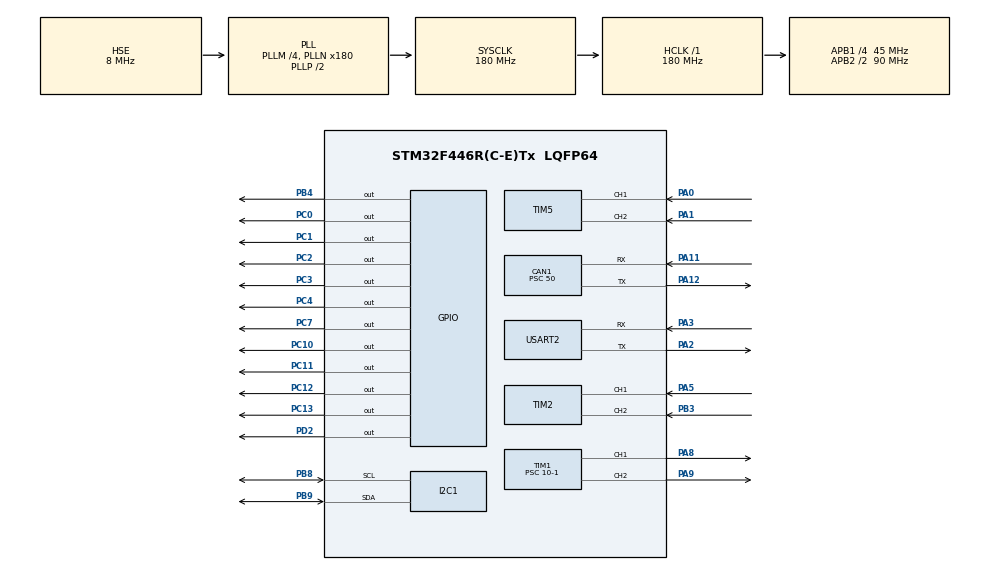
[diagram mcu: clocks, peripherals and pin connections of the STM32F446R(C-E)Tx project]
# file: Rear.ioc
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CAN1.ABOM=ENABLE
CAN1.BS1=CAN_BS1_15TQ
CAN1.BS2=CAN_BS2_2TQ
CAN1.CalculateBaudRate=50000
CAN1.CalculateTimeBit=20000
CAN1.CalculateTimeQuantum=1111.111111111111
CAN1.NART=ENABLE
CAN1.Prescaler=50
I2C1.I2C_Mode=I2C_Fast
Mcu.Family=STM32F4
Mcu.Name=STM32F446R(C-E)Tx
Mcu.Package=LQFP64
NVIC.CAN1_RX0_IRQn=true\:0\:0\:false\:false\:true\:true\:true\:true
NVIC.I2C1_EV_IRQn=true\:0\:0\:false\:false\:true\:true\:true\:true
NVIC.PriorityGroup=NVIC_PRIORITYGROUP_0
NVIC.TIM2_IRQn=true\:0\:0\:false\:false\:true\:true\:true\:true
NVIC.TIM3_IRQn=true\:0\:0\:false\:false\:true\:true\:true\:true
NVIC.TIM5_IRQn=true\:0\:0\:false\:false\:true\:true\:true\:true
NVIC.TIM6_DAC_IRQn=true\:0\:0\:false\:false\:true\:true\:true\:true
NVIC.TIM7_IRQn=true\:0\:0\:false\:false\:true\:true\:true\:true
PA0-WKUP.Signal=S_TIM5_CH1
PA1.Signal=S_TIM5_CH2
PA11.Mode=CAN_Activate
PA11.Signal=CAN1_RX
PA12.Mode=CAN_Activate
PA12.Signal=CAN1_TX
PA2.Mode=Asynchronous
PA2.Signal=USART2_TX
PA3.Mode=Asynchronous
PA3.Signal=USART2_RX
PA5.Signal=S_TIM2_CH1_ETR
PA8.Signal=S_TIM1_CH1
PA9.Signal=S_TIM1_CH2
PB3.Signal=S_TIM2_CH2
PB4.Signal=GPIO_Output
PB8.Mode=I2C
PB8.Signal=I2C1_SCL
PB9.Mode=I2C
PB9.Signal=I2C1_SDA
PC0.GPIO_ModeDefaultOutputPP=GPIO_MODE_OUTPUT_OD
PC0.GPIO_PuPd=GPIO_NOPULL
PC0.Signal=GPIO_Output
PC1.GPIO_ModeDefaultOutputPP=GPIO_MODE_OUTPUT_OD
PC1.GPIO_PuPd=GPIO_NOPULL
PC1.Signal=GPIO_Output
PC10.GPIO_ModeDefaultOutputPP=GPIO_MODE_OUTPUT_OD
PC10.GPIO_PuPd=GPIO_NOPULL
PC10.Signal=GPIO_Output
PC11.GPIO_ModeDefaultOutputPP=GPIO_MODE_OUTPUT_OD
PC11.GPIO_PuPd=GPIO_NOPULL
PC11.Signal=GPIO_Output
PC12.GPIO_ModeDefaultOutputPP=GPIO_MODE_OUTPUT_OD
PC12.GPIO_PuPd=GPIO_NOPULL
PC12.Signal=GPIO_Output
PC13.GPIO_ModeDefaultOutputPP=GPIO_MODE_OUTPUT_OD
PC13.GPIO_PuPd=GPIO_NOPULL
PC13.Signal=GPIO_Output
PC14-OSC32_IN.Mode=LSE-External-Oscillator
PC14-OSC32_IN.Signal=RCC_OSC32_IN
PC15-OSC32_OUT.Mode=LSE-External-Oscillator
PC15-OSC32_OUT.Signal=RCC_OSC32_OUT
PC2.GPIO_ModeDefaultOutputPP=GPIO_MODE_OUTPUT_OD
PC2.GPIO_PuPd=GPIO_NOPULL
PC2.Signal=GPIO_Output
PC3.GPIO_ModeDefaultOutputPP=GPIO_MODE_OUTPUT_OD
PC3.GPIO_PuPd=GPIO_NOPULL
PC3.Signal=GPIO_Output
PC4.GPIO_ModeDefaultOutputPP=GPIO_MODE_OUTPUT_OD
PC4.GPIO_PuPd=GPIO_NOPULL
PC4.Signal=GPIO_Output
PC7.Signal=GPIO_Output
PD2.GPIO_ModeDefaultOutputPP=GPIO_MODE_OUTPUT_OD
PD2.GPIO_PuPd=GPIO_NOPULL
PD2.Signal=GPIO_Output
PH0-OSC_IN.Mode=HSE-External-Oscillator
PH0-OSC_IN.Signal=RCC_OSC_IN
PH1-OSC_OUT.Mode=HSE-External-Oscillator
PH1-OSC_OUT.Signal=RCC_OSC_OUT
ProjectManager.HeapSize=0x200
ProjectManager.StackSize=0x400
ProjectManager.TargetToolchain=STM32CubeIDE
RCC.AHBFreq_Value=180000000
RCC.APB1CLKDivider=RCC_HCLK_DIV4
RCC.APB1Freq_Value=45000000
RCC.APB1TimFreq_Value=90000000
RCC.APB2CLKDivider=RCC_HCLK_DIV2
RCC.APB2Freq_Value=90000000
RCC.APB2TimFreq_Value=180000000
RCC.CortexFreq_Value=180000000
RCC.FLatency-AdvancedSettings=FLASH_LATENCY_5
RCC.HCLKFreq_Value=180000000
RCC.HSE_VALUE=8000000
RCC.HSI_VALUE=16000000
RCC.PLLM=4
RCC.PLLN=180
RCC.PLLSourceVirtual=RCC_PLLSOURCE_HSE
RCC.SYSCLKFreq_VALUE=180000000
RCC.SYSCLKSource=RCC_SYSCLKSOURCE_PLLCLK
RCC.USBFreq_Value=180000000
RCC.VCOOutputFreq_Value=360000000
SH.S_TIM1_CH1.0=TIM1_CH1,PWM Generation1 CH1
SH.S_TIM1_CH2.0=TIM1_CH2,PWM Generation2 CH2
SH.S_TIM2_CH1_ETR.0=TIM2_CH1,Encoder_Interface
SH.S_TIM2_CH2.0=TIM2_CH2,Encoder_Interface
SH.S_TIM5_CH1.0=TIM5_CH1,Encoder_Interface
SH.S_TIM5_CH2.0=TIM5_CH2,Encoder_Interface
TIM1.Channel-PWM\ Generation1\ CH1=TIM_CHANNEL_1
TIM1.Channel-PWM\ Generation2\ CH2=TIM_CHANNEL_2
TIM1.OCFastMode_PWM-PWM\ Generation1\ CH1=TIM_OCFAST_ENABLE
TIM1.OCFastMode_PWM-PWM\ Generation2\ CH2=TIM_OCFAST_ENABLE
TIM1.Period=9000-1
TIM1.Prescaler=10-1
TIM1.Pulse-PWM\ Generation1\ CH1=4500-1
TIM1.Pulse-PWM\ Generation2\ CH2=4500-1
TIM2.EncoderMode=TIM_ENCODERMODE_TI12
TIM3.Period=12300-1
TIM3.Prescaler=300-1
TIM5.EncoderMode=TIM_ENCODERMODE_TI12
TIM6.Period=16650-1
TIM6.Prescaler=200-1
TIM7.Period=9900-1
TIM7.Prescaler=100-1
USART2.VirtualMode=VM_ASYNC
VP_TIM3_VS_ClockSourceINT.Mode=Internal
VP_TIM6_VS_ClockSourceINT.Mode=Enable_Timer
VP_TIM7_VS_ClockSourceINT.Mode=Enable_Timer
board=NUCLEO-F446RE

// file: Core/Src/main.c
/* USER CODE BEGIN Header */
/**
  ******************************************************************************
  * @file           : main.c
  * @brief          : Main program body
  ******************************************************************************
  * @attention
  *
  * Copyright (c) 2022 STMicroelectronics.
  * All rights reserved.
  *
  * This software is licensed under terms that can be found in the LICENSE file
  * in the root directory of this software component.
  * If no LICENSE file comes with this software, it is provided AS-IS.
  *
  ******************************************************************************
  */
/* USER CODE END Header */
#include "main.h"

/* USER CODE BEGIN Includes */
#include "VL53L1X_api.h"
/* USER CODE END Includes */

/* USER CODE BEGIN PM */
#define DIR_FORWARD 0
#define DIR_BACKWARD 1
/* USER CODE END PM */

CAN_HandleTypeDef hcan1;

I2C_HandleTypeDef hi2c1;

TIM_HandleTypeDef htim1;
TIM_HandleTypeDef htim2;
TIM_HandleTypeDef htim3;
TIM_HandleTypeDef htim5;
TIM_HandleTypeDef htim6;
TIM_HandleTypeDef htim7;

UART_HandleTypeDef huart2;

/* USER CODE BEGIN PV */
CAN_FilterTypeDef canFilter1;
CAN_RxHeaderTypeDef can1RxHeader;
CAN_TxHeaderTypeDef can1TxHeader;

uint8_t can1Rx0Data[8];
uint32_t TxMailBox1;
uint8_t can1Tx0Data[8];

volatile unsigned int counter0 = 0;
volatile unsigned int counter1 = 0;
volatile unsigned int oldCounter0 = 0;
volatile unsigned int oldCounter1 = 0;
volatile long diff0 = 0;
volatile long diff1 = 0;

volatile long ccr0 = 21000;
volatile long ccr1 = 21000;

/* TOF */
uint16_t dev = 0x52;

uint8_t nof = 1;
uint16_t* dis = NULL;

uint8_t devs[9] = {
		0x54,
		0x56,
		0x58,
		0x5A,
		0x5C,
		0x5E,
		0x60,
		0x62,
		0x64
};
/* USER CODE END PV */

void SystemClock_Config(void);
static void MX_GPIO_Init(void);
static void MX_CAN1_Init(void);
static void MX_TIM1_Init(void);
static void MX_TIM2_Init(void);
static void MX_TIM5_Init(void);
static void MX_TIM7_Init(void);
static void MX_TIM3_Init(void);
static void MX_TIM6_Init(void);
static void MX_I2C1_Init(void);
static void MX_USART2_UART_Init(void);
/* USER CODE BEGIN PFP */
void TurnOffAll(void);
uint8_t TurnOnAt(uint8_t i);
uint16_t ChangeAddresses(uint8_t num_of_tof);
uint8_t GetAllData(uint8_t num_of_tof, uint16_t dis[num_of_tof]);

void HAL_CAN_RxFifo0MsgPendingCallback(CAN_HandleTypeDef *hcan);
void CAN_Filter_Init(void);
void CAN_Send(uint8_t ID, uint8_t data0, uint8_t data1, uint8_t data2, uint8_t data3, uint8_t data4, uint8_t data5, uint8_t data6, uint8_t data7);
void CAN_SendAll(void);

void setLeftMotorCCR(uint16_t ccr, uint8_t dir);
void setRightMotorCCR(uint16_t ccr, uint8_t dir);

void HAL_TIM_PeriodElapsedCallback(TIM_HandleTypeDef *htim);
/* USER CODE END PFP */

/* USER CODE BEGIN 0 */
union Speedtype {
	float fl;
	uint32_t i;
};

union Speedtype speed0;
union Speedtype speed1;

int _write(int file, char* p, int len) {
	HAL_UART_Transmit(&huart2, p, len, 16);
	return len;
}
/* USER CODE END 0 */

int main(void)
{

  /* MCU Configuration--------------------------------------------------------*/

  /* Reset of all peripherals, Initializes the Flash interface and the Systick. */
  HAL_Init();

  /* USER CODE BEGIN Init */
  dis = calloc(nof, 16 * nof);
  /* USER CODE END Init */

  /* Configure the system clock */
  SystemClock_Config();

  /* Initialize all configured peripherals */
  MX_GPIO_Init();
  MX_CAN1_Init();
  MX_TIM1_Init();
  MX_TIM2_Init();
  MX_TIM5_Init();
  MX_TIM7_Init();
  MX_TIM3_Init();
  MX_TIM6_Init();
  MX_I2C1_Init();
  MX_USART2_UART_Init();
  /* USER CODE BEGIN 2 */
  setLeftMotorCCR(0, DIR_FORWARD);
  setRightMotorCCR(0, DIR_FORWARD);

  if (!(ChangeAddresses(nof))) {
	  //HAL_UART_Transmit(&huart2, fail, 6, 10);
  }
  else {
	  //HAL_UART_Transmit(&huart2, succ, 6, 10);
  }
  HAL_Delay(50);

  HAL_TIM_Base_Start_IT(&htim3);
  HAL_TIM_Base_Start_IT(&htim6);
  HAL_TIM_Base_Start_IT(&htim7);
  /* USER CODE END 2 */

  /* Infinite loop */
  while (1)
  {

  }
}

void SystemClock_Config(void)
{
  RCC_OscInitTypeDef RCC_OscInitStruct = {0};
  RCC_ClkInitTypeDef RCC_ClkInitStruct = {0};

  /** Configure the main internal regulator output voltage
  */
  __HAL_RCC_PWR_CLK_ENABLE();
  __HAL_PWR_VOLTAGESCALING_CONFIG(PWR_REGULATOR_VOLTAGE_SCALE1);

  /** Initializes the RCC Oscillators according to the specified parameters
  * in the RCC_OscInitTypeDef structure.
  */
  RCC_OscInitStruct.OscillatorType = RCC_OSCILLATORTYPE_HSE;
  RCC_OscInitStruct.HSEState = RCC_HSE_ON;
  RCC_OscInitStruct.PLL.PLLState = RCC_PLL_ON;
  RCC_OscInitStruct.PLL.PLLSource = RCC_PLLSOURCE_HSE;
  RCC_OscInitStruct.PLL.PLLM = 4;
  RCC_OscInitStruct.PLL.PLLN = 180;
  RCC_OscInitStruct.PLL.PLLP = RCC_PLLP_DIV2;
  RCC_OscInitStruct.PLL.PLLQ = 2;
  RCC_OscInitStruct.PLL.PLLR = 2;
  if (HAL_RCC_OscConfig(&RCC_OscInitStruct) != HAL_OK)
  {
    Error_Handler();
  }

  /** Activate the Over-Drive mode
  */
  if (HAL_PWREx_EnableOverDrive() != HAL_OK)
  {
    Error_Handler();
  }

  /** Initializes the CPU, AHB and APB buses clocks
  */
  RCC_ClkInitStruct.ClockType = RCC_CLOCKTYPE_HCLK|RCC_CLOCKTYPE_SYSCLK
                              |RCC_CLOCKTYPE_PCLK1|RCC_CLOCKTYPE_PCLK2;
  RCC_ClkInitStruct.SYSCLKSource = RCC_SYSCLKSOURCE_PLLCLK;
  RCC_ClkInitStruct.AHBCLKDivider = RCC_SYSCLK_DIV1;
  RCC_ClkInitStruct.APB1CLKDivider = RCC_HCLK_DIV4;
  RCC_ClkInitStruct.APB2CLKDivider = RCC_HCLK_DIV2;

  if (HAL_RCC_ClockConfig(&RCC_ClkInitStruct, FLASH_LATENCY_5) != HAL_OK)
  {
    Error_Handler();
  }
}

static void MX_CAN1_Init(void)
{

  hcan1.Instance = CAN1;
  hcan1.Init.Prescaler = 50;
  hcan1.Init.Mode = CAN_MODE_NORMAL;
  hcan1.Init.SyncJumpWidth = CAN_SJW_1TQ;
  hcan1.Init.TimeSeg1 = CAN_BS1_15TQ;
  hcan1.Init.TimeSeg2 = CAN_BS2_2TQ;
  hcan1.Init.TimeTriggeredMode = DISABLE;
  hcan1.Init.AutoBusOff = ENABLE;
  hcan1.Init.AutoWakeUp = DISABLE;
  hcan1.Init.AutoRetransmission = ENABLE;
  hcan1.Init.ReceiveFifoLocked = DISABLE;
  hcan1.Init.TransmitFifoPriority = DISABLE;
  if (HAL_CAN_Init(&hcan1) != HAL_OK)
  {
    Error_Handler();
  }
  /* USER CODE BEGIN CAN1_Init 2 */
  CAN_Filter_Init();
  /* USER CODE END CAN1_Init 2 */

}

static void MX_I2C1_Init(void)
{

  hi2c1.Instance = I2C1;
  hi2c1.Init.ClockSpeed = 400000;
  hi2c1.Init.DutyCycle = I2C_DUTYCYCLE_2;
  hi2c1.Init.OwnAddress1 = 0;
  hi2c1.Init.AddressingMode = I2C_ADDRESSINGMODE_7BIT;
  hi2c1.Init.DualAddressMode = I2C_DUALADDRESS_DISABLE;
  hi2c1.Init.OwnAddress2 = 0;
  hi2c1.Init.GeneralCallMode = I2C_GENERALCALL_DISABLE;
  hi2c1.Init.NoStretchMode = I2C_NOSTRETCH_DISABLE;
  if (HAL_I2C_Init(&hi2c1) != HAL_OK)
  {
    Error_Handler();
  }

}

static void MX_TIM1_Init(void)
{

  TIM_MasterConfigTypeDef sMasterConfig = {0};
  TIM_OC_InitTypeDef sConfigOC = {0};
  TIM_BreakDeadTimeConfigTypeDef sBreakDeadTimeConfig = {0};

  htim1.Instance = TIM1;
  htim1.Init.Prescaler = 10-1;
  htim1.Init.CounterMode = TIM_COUNTERMODE_UP;
  htim1.Init.Period = 9000-1;
  htim1.Init.ClockDivision = TIM_CLOCKDIVISION_DIV1;
  htim1.Init.RepetitionCounter = 0;
  htim1.Init.AutoReloadPreload = TIM_AUTORELOAD_PRELOAD_DISABLE;
  if (HAL_TIM_PWM_Init(&htim1) != HAL_OK)
  {
    Error_Handler();
  }
  sMasterConfig.MasterOutputTrigger = TIM_TRGO_RESET;
  sMasterConfig.MasterSlaveMode = TIM_MASTERSLAVEMODE_DISABLE;
  if (HAL_TIMEx_MasterConfigSynchronization(&htim1, &sMasterConfig) != HAL_OK)
  {
    Error_Handler();
  }
  sConfigOC.OCMode = TIM_OCMODE_PWM1;
  sConfigOC.Pulse = 4500-1;
  sConfigOC.OCPolarity = TIM_OCPOLARITY_HIGH;
  sConfigOC.OCNPolarity = TIM_OCNPOLARITY_HIGH;
  sConfigOC.OCFastMode = TIM_OCFAST_ENABLE;
  sConfigOC.OCIdleState = TIM_OCIDLESTATE_RESET;
  sConfigOC.OCNIdleState = TIM_OCNIDLESTATE_RESET;
  if (HAL_TIM_PWM_ConfigChannel(&htim1, &sConfigOC, TIM_CHANNEL_1) != HAL_OK)
  {
    Error_Handler();
  }
  if (HAL_TIM_PWM_ConfigChannel(&htim1, &sConfigOC, TIM_CHANNEL_2) != HAL_OK)
  {
    Error_Handler();
  }
  sBreakDeadTimeConfig.OffStateRunMode = TIM_OSSR_DISABLE;
  sBreakDeadTimeConfig.OffStateIDLEMode = TIM_OSSI_DISABLE;
  sBreakDeadTimeConfig.LockLevel = TIM_LOCKLEVEL_OFF;
  sBreakDeadTimeConfig.DeadTime = 0;
  sBreakDeadTimeConfig.BreakState = TIM_BREAK_DISABLE;
  sBreakDeadTimeConfig.BreakPolarity = TIM_BREAKPOLARITY_HIGH;
  sBreakDeadTimeConfig.AutomaticOutput = TIM_AUTOMATICOUTPUT_DISABLE;
  if (HAL_TIMEx_ConfigBreakDeadTime(&htim1, &sBreakDeadTimeConfig) != HAL_OK)
  {
    Error_Handler();
  }
  /* USER CODE BEGIN TIM1_Init 2 */
  HAL_TIM_PWM_Start(&htim1, TIM_CHANNEL_1);
  HAL_TIM_PWM_Start(&htim1, TIM_CHANNEL_2);
  /* USER CODE END TIM1_Init 2 */
  HAL_TIM_MspPostInit(&htim1);

}

static void MX_TIM2_Init(void)
{

  TIM_Encoder_InitTypeDef sConfig = {0};
  TIM_MasterConfigTypeDef sMasterConfig = {0};

  htim2.Instance = TIM2;
  htim2.Init.Prescaler = 0;
  htim2.Init.CounterMode = TIM_COUNTERMODE_UP;
  htim2.Init.Period = 4294967295;
  htim2.Init.ClockDivision = TIM_CLOCKDIVISION_DIV1;
  htim2.Init.AutoReloadPreload = TIM_AUTORELOAD_PRELOAD_DISABLE;
  sConfig.EncoderMode = TIM_ENCODERMODE_TI12;
  sConfig.IC1Polarity = TIM_ICPOLARITY_RISING;
  sConfig.IC1Selection = TIM_ICSELECTION_DIRECTTI;
  sConfig.IC1Prescaler = TIM_ICPSC_DIV1;
  sConfig.IC1Filter = 0;
  sConfig.IC2Polarity = TIM_ICPOLARITY_RISING;
  sConfig.IC2Selection = TIM_ICSELECTION_DIRECTTI;
  sConfig.IC2Prescaler = TIM_ICPSC_DIV1;
  sConfig.IC2Filter = 0;
  if (HAL_TIM_Encoder_Init(&htim2, &sConfig) != HAL_OK)
  {
    Error_Handler();
  }
  sMasterConfig.MasterOutputTrigger = TIM_TRGO_RESET;
  sMasterConfig.MasterSlaveMode = TIM_MASTERSLAVEMODE_DISABLE;
  if (HAL_TIMEx_MasterConfigSynchronization(&htim2, &sMasterConfig) != HAL_OK)
  {
    Error_Handler();
  }
  /* USER CODE BEGIN TIM2_Init 2 */
  HAL_TIM_Encoder_Start_IT(&htim2, TIM_CHANNEL_ALL);
  /* USER CODE END TIM2_Init 2 */

}

static void MX_TIM3_Init(void)
{

  TIM_ClockConfigTypeDef sClockSourceConfig = {0};
  TIM_MasterConfigTypeDef sMasterConfig = {0};

  htim3.Instance = TIM3;
  htim3.Init.Prescaler = 300-1;
  htim3.Init.CounterMode = TIM_COUNTERMODE_UP;
  htim3.Init.Period = 12300-1;
  htim3.Init.ClockDivision = TIM_CLOCKDIVISION_DIV1;
  htim3.Init.AutoReloadPreload = TIM_AUTORELOAD_PRELOAD_DISABLE;
  if (HAL_TIM_Base_Init(&htim3) != HAL_OK)
  {
    Error_Handler();
  }
  sClockSourceConfig.ClockSource = TIM_CLOCKSOURCE_INTERNAL;
  if (HAL_TIM_ConfigClockSource(&htim3, &sClockSourceConfig) != HAL_OK)
  {
    Error_Handler();
  }
  sMasterConfig.MasterOutputTrigger = TIM_TRGO_RESET;
  sMasterConfig.MasterSlaveMode = TIM_MASTERSLAVEMODE_DISABLE;
  if (HAL_TIMEx_MasterConfigSynchronization(&htim3, &sMasterConfig) != HAL_OK)
  {
    Error_Handler();
  }

}

static void MX_TIM5_Init(void)
{

  TIM_Encoder_InitTypeDef sConfig = {0};
  TIM_MasterConfigTypeDef sMasterConfig = {0};

  htim5.Instance = TIM5;
  htim5.Init.Prescaler = 0;
  htim5.Init.CounterMode = TIM_COUNTERMODE_UP;
  htim5.Init.Period = 4294967295;
  htim5.Init.ClockDivision = TIM_CLOCKDIVISION_DIV1;
  htim5.Init.AutoReloadPreload = TIM_AUTORELOAD_PRELOAD_DISABLE;
  sConfig.EncoderMode = TIM_ENCODERMODE_TI12;
  sConfig.IC1Polarity = TIM_ICPOLARITY_RISING;
  sConfig.IC1Selection = TIM_ICSELECTION_DIRECTTI;
  sConfig.IC1Prescaler = TIM_ICPSC_DIV1;
  sConfig.IC1Filter = 0;
  sConfig.IC2Polarity = TIM_ICPOLARITY_RISING;
  sConfig.IC2Selection = TIM_ICSELECTION_DIRECTTI;
  sConfig.IC2Prescaler = TIM_ICPSC_DIV1;
  sConfig.IC2Filter = 0;
  if (HAL_TIM_Encoder_Init(&htim5, &sConfig) != HAL_OK)
  {
    Error_Handler();
  }
  sMasterConfig.MasterOutputTrigger = TIM_TRGO_RESET;
  sMasterConfig.MasterSlaveMode = TIM_MASTERSLAVEMODE_DISABLE;
  if (HAL_TIMEx_MasterConfigSynchronization(&htim5, &sMasterConfig) != HAL_OK)
  {
    Error_Handler();
  }
  /* USER CODE BEGIN TIM5_Init 2 */
  HAL_TIM_Encoder_Start_IT(&htim5, TIM_CHANNEL_ALL);
  /* USER CODE END TIM5_Init 2 */

}

static void MX_TIM6_Init(void)
{

  TIM_MasterConfigTypeDef sMasterConfig = {0};

  htim6.Instance = TIM6;
  htim6.Init.Prescaler = 200-1;
  htim6.Init.CounterMode = TIM_COUNTERMODE_UP;
  htim6.Init.Period = 16650-1;
  htim6.Init.AutoReloadPreload = TIM_AUTORELOAD_PRELOAD_DISABLE;
  if (HAL_TIM_Base_Init(&htim6) != HAL_OK)
  {
    Error_Handler();
  }
  sMasterConfig.MasterOutputTrigger = TIM_TRGO_RESET;
  sMasterConfig.MasterSlaveMode = TIM_MASTERSLAVEMODE_DISABLE;
  if (HAL_TIMEx_MasterConfigSynchronization(&htim6, &sMasterConfig) != HAL_OK)
  {
    Error_Handler();
  }

}

static void MX_TIM7_Init(void)
{

  TIM_MasterConfigTypeDef sMasterConfig = {0};

  htim7.Instance = TIM7;
  htim7.Init.Prescaler = 100-1;
  htim7.Init.CounterMode = TIM_COUNTERMODE_UP;
  htim7.Init.Period = 9900-1;
  htim7.Init.AutoReloadPreload = TIM_AUTORELOAD_PRELOAD_DISABLE;
  if (HAL_TIM_Base_Init(&htim7) != HAL_OK)
  {
    Error_Handler();
  }
  sMasterConfig.MasterOutputTrigger = TIM_TRGO_RESET;
  sMasterConfig.MasterSlaveMode = TIM_MASTERSLAVEMODE_DISABLE;
  if (HAL_TIMEx_MasterConfigSynchronization(&htim7, &sMasterConfig) != HAL_OK)
  {
    Error_Handler();
  }

}

static void MX_USART2_UART_Init(void)
{

  huart2.Instance = USART2;
  huart2.Init.BaudRate = 115200;
  huart2.Init.WordLength = UART_WORDLENGTH_8B;
  huart2.Init.StopBits = UART_STOPBITS_1;
  huart2.Init.Parity = UART_PARITY_NONE;
  huart2.Init.Mode = UART_MODE_TX_RX;
  huart2.Init.HwFlowCtl = UART_HWCONTROL_NONE;
  huart2.Init.OverSampling = UART_OVERSAMPLING_16;
  if (HAL_UART_Init(&huart2) != HAL_OK)
  {
    Error_Handler();
  }

}

static void MX_GPIO_Init(void)
{
  GPIO_InitTypeDef GPIO_InitStruct = {0};

  /* GPIO Ports Clock Enable */
  __HAL_RCC_GPIOC_CLK_ENABLE();
  __HAL_RCC_GPIOH_CLK_ENABLE();
  __HAL_RCC_GPIOA_CLK_ENABLE();
  __HAL_RCC_GPIOD_CLK_ENABLE();
  __HAL_RCC_GPIOB_CLK_ENABLE();

  /*Configure GPIO pin Output Level */
  HAL_GPIO_WritePin(GPIOC, GPIO_PIN_13|GPIO_PIN_0|GPIO_PIN_1|GPIO_PIN_2
                          |GPIO_PIN_3|GPIO_PIN_4|GPIO_PIN_7|GPIO_PIN_10
                          |GPIO_PIN_11|GPIO_PIN_12, GPIO_PIN_RESET);

  /*Configure GPIO pin Output Level */
  HAL_GPIO_WritePin(GPIOD, GPIO_PIN_2, GPIO_PIN_RESET);

  /*Configure GPIO pin Output Level */
  HAL_GPIO_WritePin(GPIOB, GPIO_PIN_4, GPIO_PIN_RESET);

  /*Configure GPIO pins : PC13 PC0 PC1 PC2
                           PC3 PC4 PC10 PC11
                           PC12 */
  GPIO_InitStruct.Pin = GPIO_PIN_13|GPIO_PIN_0|GPIO_PIN_1|GPIO_PIN_2
                          |GPIO_PIN_3|GPIO_PIN_4|GPIO_PIN_10|GPIO_PIN_11
                          |GPIO_PIN_12;
  GPIO_InitStruct.Mode = GPIO_MODE_OUTPUT_OD;
  GPIO_InitStruct.Pull = GPIO_NOPULL;
  GPIO_InitStruct.Speed = GPIO_SPEED_FREQ_LOW;
  HAL_GPIO_Init(GPIOC, &GPIO_InitStruct);

  /*Configure GPIO pin : PC7 */
  GPIO_InitStruct.Pin = GPIO_PIN_7;
  GPIO_InitStruct.Mode = GPIO_MODE_OUTPUT_PP;
  GPIO_InitStruct.Pull = GPIO_NOPULL;
  GPIO_InitStruct.Speed = GPIO_SPEED_FREQ_LOW;
  HAL_GPIO_Init(GPIOC, &GPIO_InitStruct);

  /*Configure GPIO pin : PD2 */
  GPIO_InitStruct.Pin = GPIO_PIN_2;
  GPIO_InitStruct.Mode = GPIO_MODE_OUTPUT_OD;
  GPIO_InitStruct.Pull = GPIO_NOPULL;
  GPIO_InitStruct.Speed = GPIO_SPEED_FREQ_LOW;
  HAL_GPIO_Init(GPIOD, &GPIO_InitStruct);

  /*Configure GPIO pin : PB4 */
  GPIO_InitStruct.Pin = GPIO_PIN_4;
  GPIO_InitStruct.Mode = GPIO_MODE_OUTPUT_PP;
  GPIO_InitStruct.Pull = GPIO_NOPULL;
  GPIO_InitStruct.Speed = GPIO_SPEED_FREQ_LOW;
  HAL_GPIO_Init(GPIOB, &GPIO_InitStruct);

}

/* USER CODE BEGIN 4 */
void TurnOffAll(void) {
	  HAL_GPIO_WritePin(GPIOC, GPIO_PIN_10, GPIO_PIN_RESET);
	  HAL_GPIO_WritePin(GPIOC, GPIO_PIN_11, GPIO_PIN_RESET);
	  HAL_GPIO_WritePin(GPIOC, GPIO_PIN_12, GPIO_PIN_RESET);
	  HAL_GPIO_WritePin(GPIOD, GPIO_PIN_2, GPIO_PIN_RESET);
	  HAL_GPIO_WritePin(GPIOC, GPIO_PIN_13, GPIO_PIN_RESET);
	  HAL_GPIO_WritePin(GPIOC, GPIO_PIN_2, GPIO_PIN_RESET);
	  HAL_GPIO_WritePin(GPIOC, GPIO_PIN_3, GPIO_PIN_RESET);
	  HAL_GPIO_WritePin(GPIOC, GPIO_PIN_0, GPIO_PIN_RESET);
	  HAL_GPIO_WritePin(GPIOC, GPIO_PIN_1, GPIO_PIN_RESET);
}

uint8_t TurnOnAt(uint8_t i) {
	uint8_t bootState = 0;
	uint8_t boot[8] = {66, 79, 79, 84, 48, 13, 10, 0};
	switch (i) {
	case 0:
		HAL_GPIO_WritePin(GPIOC, GPIO_PIN_10, GPIO_PIN_SET);
		HAL_Delay(10);
		while(bootState==0){
			HAL_GPIO_WritePin(GPIOC, GPIO_PIN_10, GPIO_PIN_SET);
			HAL_Delay(10);
			VL53L1X_BootState(dev, &bootState);
			HAL_UART_Transmit(&huart2, boot, 8, 10);
			HAL_Delay(2);
		}
		break;
	case 1:
		HAL_GPIO_WritePin(GPIOC, GPIO_PIN_11, GPIO_PIN_SET);
		HAL_Delay(10);
		boot[4] = 49;
		while(bootState==0){
			HAL_GPIO_WritePin(GPIOC, GPIO_PIN_11, GPIO_PIN_SET);
			HAL_Delay(10);
			VL53L1X_BootState(dev, &bootState);
			HAL_UART_Transmit(&huart2, boot, 8, 10);
			HAL_Delay(2);
		}
		break;
	case 2:
		HAL_GPIO_WritePin(GPIOC, GPIO_PIN_12, GPIO_PIN_SET);
		HAL_Delay(10);
		boot[4] = 50;
		while(bootState==0){
			HAL_GPIO_WritePin(GPIOC, GPIO_PIN_12, GPIO_PIN_SET);
			HAL_Delay(10);
			VL53L1X_BootState(dev, &bootState);
			HAL_UART_Transmit(&huart2, boot, 8, 10);
			HAL_Delay(2);
		}
		break;
	case 3:
		HAL_GPIO_WritePin(GPIOD, GPIO_PIN_2, GPIO_PIN_SET);
		HAL_Delay(10);
		boot[4] = 51;
		while(bootState==0){
			HAL_GPIO_WritePin(GPIOD, GPIO_PIN_2, GPIO_PIN_SET);
			HAL_Delay(10);
			VL53L1X_BootState(dev, &bootState);
			HAL_UART_Transmit(&huart2, boot, 8, 10);
			HAL_Delay(2);
		}
		break;
	case 4:
		HAL_GPIO_WritePin(GPIOC, GPIO_PIN_13, GPIO_PIN_SET);
		HAL_Delay(10);
		boot[4] = 52;
		while(bootState==0){
			HAL_GPIO_WritePin(GPIOC, GPIO_PIN_13, GPIO_PIN_SET);
			HAL_Delay(10);
			VL53L1X_BootState(dev, &bootState);
			HAL_UART_Transmit(&huart2, boot, 8, 10);
			HAL_Delay(2);
		}
		break;
	case 5:
		HAL_GPIO_WritePin(GPIOC, GPIO_PIN_2, GPIO_PIN_SET);
		HAL_Delay(10);
		boot[4] = 53;
		while(bootState==0){
			HAL_GPIO_WritePin(GPIOC, GPIO_PIN_2, GPIO_PIN_SET);
			HAL_Delay(10);
			VL53L1X_BootState(dev, &bootState);
			HAL_UART_Transmit(&huart2, boot, 8, 10);
			HAL_Delay(2);
		}
		break;
	case 6:
		HAL_GPIO_WritePin(GPIOC, GPIO_PIN_3, GPIO_PIN_SET);
		HAL_Delay(10);
		boot[4] = 54;
		while(bootState==0){
			HAL_GPIO_WritePin(GPIOC, GPIO_PIN_3, GPIO_PIN_SET);
			HAL_Delay(10);
			VL53L1X_BootState(dev, &bootState);
			HAL_UART_Transmit(&huart2, boot, 8, 10);
			HAL_Delay(2);
		}
		break;
	case 7:
		HAL_GPIO_WritePin(GPIOC, GPIO_PIN_0, GPIO_PIN_SET);
		HAL_Delay(10);
		boot[4] = 55;
		while(bootState==0){
			HAL_GPIO_WritePin(GPIOC, GPIO_PIN_0, GPIO_PIN_SET);
			HAL_Delay(10);
			VL53L1X_BootState(dev, &bootState);
			HAL_UART_Transmit(&huart2, boot, 8, 10);
			HAL_Delay(2);
		}
		break;
	case 8:
		HAL_GPIO_WritePin(GPIOC, GPIO_PIN_1, GPIO_PIN_SET);
		HAL_Delay(10);
		boot[4] = 56;
		while(bootState==0){
			HAL_GPIO_WritePin(GPIOC, GPIO_PIN_1, GPIO_PIN_SET);
			HAL_Delay(10);
			VL53L1X_BootState(dev, &bootState);
			HAL_UART_Transmit(&huart2, boot, 8, 10);
			HAL_Delay(2);
		}
		break;
	default:
		;
		// shit
	}
	return bootState;
}

uint16_t ChangeAddresses(uint8_t num_of_tof) {
	uint8_t success = 1;
	TurnOffAll();
	HAL_Delay(10);
	for (uint8_t i = 0; i != num_of_tof; ++i) {
		success *= TurnOnAt(i);
		HAL_Delay(5);
		printf("try init: %d\r\n", i);
		VL53L1X_SensorInit(dev);
		printf("try addr change: %d\r\n", i);
		VL53L1X_SetI2CAddress(dev, devs[i]);
		VL53L1X_StartRanging(devs[i]);
		printf("done: %d\r\n", i);
	}
	return success;
}

uint8_t GetAllData(uint8_t num_of_tof, uint16_t dis[num_of_tof]) {
	for (uint8_t i = 0; i != num_of_tof; ++i) {
		VL53L1X_GetDistance(devs[i], &dis[i]);
		VL53L1X_ClearInterrupt(devs[i]);
	}

	/*
	uint8_t dataReady = 0;
	for (uint8_t i = 1; i != num_of_tof; ++i) {
		dataReady = 0;
		while (dataReady == 0){
			VL53L1X_CheckForDataReady(devs[i], &dataReady);
			//printf("getting %d\r\n", i);
			//HAL_Delay(2);
		}
		VL53L1X_GetDistance(devs[i], &dis[i]);
		VL53L1X_ClearInterrupt(devs[i]);
	}
	*/
	return 1;
}

void CAN_Filter_Init(void)
{
	//Set the CAN Filter which has Mask Ids
	//CAN Filter1
	//Receiving CAN data via 0x102~0x10E
//	canFilter1.FilterMaskIdHigh = 0x7F3 << 5; // Shift 5 bit
//	canFilter1.FilterIdHigh = 0x106 << 5;
//	canFilter1.FilterMaskIdLow = 0x7F3 << 5; // Shift 5 bit
//	canFilter1.FilterIdLow = 0x106 << 5;
	canFilter1.FilterMaskIdHigh = 0x000 << 5; // Shift 5 bit
	canFilter1.FilterIdHigh = 0x000 << 5;
	canFilter1.FilterMaskIdLow = 0x000 << 5; // Shift 5 bit
	canFilter1.FilterIdLow = 0x000 << 5;
	canFilter1.FilterMode = CAN_FILTERMODE_IDMASK;
	canFilter1.FilterScale = CAN_FILTERSCALE_16BIT;
	canFilter1.FilterFIFOAssignment = CAN_FILTER_FIFO0;
	canFilter1.FilterBank = 0;
	canFilter1.FilterActivation = ENABLE;

	/* Set options for messages; ID type(standard), Length(8 byte) */
	can1TxHeader.RTR = CAN_RTR_DATA;
	can1TxHeader.IDE = CAN_ID_STD;
	can1TxHeader.DLC = 8;

	HAL_CAN_ConfigFilter(&hcan1, &canFilter1);
	HAL_CAN_ActivateNotification(&hcan1, CAN_IT_RX_FIFO0_MSG_PENDING);
	HAL_CAN_Start(&hcan1);
}

void CAN_Send(uint8_t ID, uint8_t data0, uint8_t data1, uint8_t data2, uint8_t data3, uint8_t data4, uint8_t data5, uint8_t data6, uint8_t data7)
{
	  /* Set options for messages; Address */
	  can1TxHeader.StdId = ID;

	  can1Tx0Data[7] = data7;
	  can1Tx0Data[6] = data6;
	  can1Tx0Data[5] = data5;
	  can1Tx0Data[4] = data4;
	  can1Tx0Data[3] = data3;
	  can1Tx0Data[2] = data2;
	  can1Tx0Data[1] = data1;
	  can1Tx0Data[0] = data0;
//
//	  can1Tx0Data[7] = 0;
//	  can1Tx0Data[6] = 10;
//	  can1Tx0Data[5] = 13;
//	  can1Tx0Data[4] = 111;
//	  can1Tx0Data[3] = 108;
//	  can1Tx0Data[2] = 108;
//	  can1Tx0Data[1] = 101;
//	  can1Tx0Data[0] = 72;

	  //TxMailBox1 = HAL_CAN_GetTxMailboxesFreeLevel(&hcan1);
	  HAL_CAN_AddTxMessage(&hcan1, &can1TxHeader, &can1Tx0Data[0], &TxMailBox1);
}

void CAN_SendAll(void) {
	CAN_Send(0x10, speed0.i & 0xFF, (speed0.i & 0xFF00) >> 8, (speed0.i & 0xFF0000) >> 16, speed0.i >> 24, speed1.i & 0xFF, (speed1.i & 0xFF00) >> 8, (speed1.i & 0xFF0000) >> 16, speed1.i >> 24);
	CAN_Send(0x11, dis[0] >> 8, dis[0] & 0xFF, dis[1] >> 8, dis[1] & 0xFF, dis[2] >> 8, dis[2] & 0xFF, 0, 0);
	CAN_Send(0x11, dis[3] >> 8, dis[3] & 0xFF, dis[4] >> 8, dis[4] & 0xFF, dis[5] >> 8, dis[5] & 0xFF, 0, 0);
	CAN_Send(0x11, dis[6] >> 8, dis[6] & 0xFF, dis[7] >> 8, dis[7] & 0xFF, dis[8] >> 8, dis[8] & 0xFF, 0, 0);
}

/* Receiving CAN Data */
/* Get CAN1 message Through FIFO0 */
void HAL_CAN_RxFifo0MsgPendingCallback(CAN_HandleTypeDef *hcan)
{
	HAL_CAN_GetRxMessage(&hcan1, CAN_RX_FIFO0, &can1RxHeader, can1Rx0Data);
	uint8_t left_dir = can1Rx0Data[0];
	uint16_t left_ccr = can1Rx0Data[1] << 8 | can1Rx0Data[2];
	uint8_t right_dir = can1Rx0Data[3];
	uint16_t right_ccr = can1Rx0Data[4] << 8 | can1Rx0Data[5];
	setLeftMotorCCR(left_ccr, left_dir);
	setRightMotorCCR(right_ccr, right_dir);
}

void setLeftMotorCCR(uint16_t ccr, uint8_t dir) {
	if (dir == DIR_BACKWARD) {
		HAL_GPIO_WritePin(GPIOC, GPIO_PIN_7, GPIO_PIN_SET);
	}
	else {
		HAL_GPIO_WritePin(GPIOC, GPIO_PIN_7, GPIO_PIN_RESET);

	}

	 //uint32_t ccr = (uint32_t) speed * 20;
	 if (ccr > TIM1->ARR) ccr = TIM1->ARR;
	 //printf("%d\r\n", ccr0);
	 TIM1->CCR2 = ccr;
	 //HAL_Delay(50);
}

void setRightMotorCCR(uint16_t ccr, uint8_t dir) {
	if (dir == DIR_BACKWARD) {
		HAL_GPIO_WritePin(GPIOB, GPIO_PIN_4, GPIO_PIN_RESET);
	}
	else {
		HAL_GPIO_WritePin(GPIOB, GPIO_PIN_4, GPIO_PIN_SET);
	}

	 //uint32_t ccr = (uint32_t) speed * 20;
	 if (ccr > TIM1->ARR) ccr = TIM1->ARR;
	 TIM1->CCR1 = ccr;
	 //HAL_Delay(50);
}

void HAL_TIM_PeriodElapsedCallback(TIM_HandleTypeDef *htim) {
	if (htim == &htim7) {
		  counter0 = __HAL_TIM_GET_COUNTER(&htim2);
		  counter1 = __HAL_TIM_GET_COUNTER(&htim5);

		  if (__HAL_TIM_IS_TIM_COUNTING_DOWN(&htim2)) {
			  if (counter0 <= oldCounter0){
				  // pure forward
				  //printf("a1,");
				  diff0 = -counter0 + oldCounter0;
			  }
			  else {
				  // backward -> forward
				  //printf("a2,");
				  diff0 = (4294967295 + oldCounter0) - counter0;
			  }
		  }
		  else {
			  if (counter0 <= oldCounter0) {
				  // forward -> backward
				  //printf("a3,");
				  diff0 = (4294967295 + oldCounter0) - counter0;
			  }
			  else {
				  // pure backward
				  //printf("a4,");
				  diff0 = -counter0 + oldCounter0;
			  }
		  }

		  if (__HAL_TIM_IS_TIM_COUNTING_DOWN(&htim5)) {
			  if (counter1 >= oldCounter1) {
				  // forward -> backward change
				  //printf("b1: ");
				  diff1 = (4294967295 - oldCounter1) + counter1;
			  }

			  else {
				  // pure backward
				  //printf("b2: ");
				  diff1 = counter1 - oldCounter1;
			  }

			  }
		  else {
			  if (counter1 >= oldCounter1) {
				  // pure forward
				  //printf("b3: ");
				  diff1 = counter1 - oldCounter1;
			  }

			  else {
				  // backward -> forward change
				  //printf("b4: ");
				  diff1 = (4294967295 - oldCounter1) + counter1;
			  }
		  }
		  oldCounter0 = __HAL_TIM_GET_COUNTER(&htim2);
		  oldCounter1 = __HAL_TIM_GET_COUNTER(&htim5);

		  speed0.fl = diff0 * 0.0054931640625 * 90.9091;
		  speed1.fl = diff1 * 0.0054931640625 * 90.9091;
	}
	else if (htim == &htim6) {
		// tof
		GetAllData(nof, dis);
	}
	else {
		// can send
		CAN_SendAll();
	}
}
/* USER CODE END 4 */

void Error_Handler(void)
{
  __disable_irq();
  while (1)
  {
  }
}
